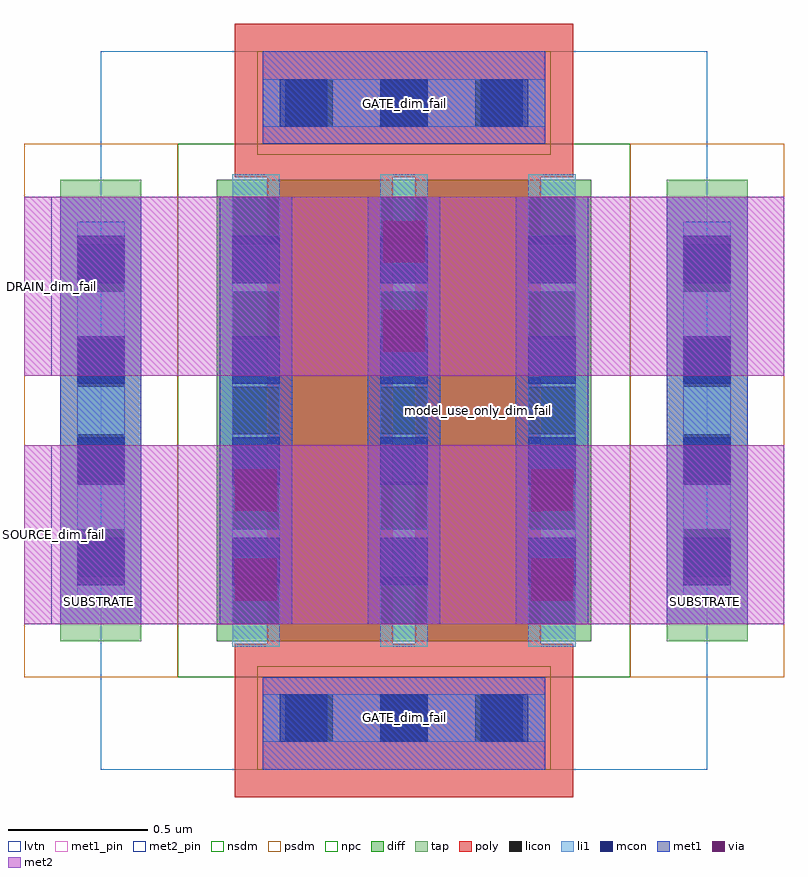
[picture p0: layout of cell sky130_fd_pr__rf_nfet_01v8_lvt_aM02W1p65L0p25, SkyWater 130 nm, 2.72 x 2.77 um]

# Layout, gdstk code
import gdstk
lib = gdstk.Library(unit=1e-6, precision=1e-09)
def R(c, l, rs):  # rectangles x0, y0, x1, y1
    for r in rs: c.add(gdstk.rectangle(r[:2], r[2:], *l))
def A(c, l, x, y, w, h, nx, ny, dx, dy):  # array of equal rectangles
    R(c, l, [(x+i*dx, y+j*dy, x+i*dx+w, y+j*dy+h) for i in range(nx) for j in range(ny)])
def P(c, l, *ps):  # polygons
    for p in ps: c.add(gdstk.Polygon(p, *l))
diff = (65, 20)
tap = (65, 44)
poly = (66, 20)
licon = (66, 44)
li1 = (67, 20)
mcon = (67, 44)
met1_pin = (68, 16)
met1 = (68, 20)
via = (68, 44)
met2_pin = (69, 16)
met2 = (69, 20)
nsdm = (93, 44)
psdm = (94, 20)
npc = (95, 20)
lvtn = (125, 44)

sky130_fd_pr__rf_nfet_01 = lib.new_cell('sky130_fd_pr__rf_nfet_01v8_lvt_aM02W1p65L0p25')
R(sky130_fd_pr__rf_nfet_01, diff, [(0.74,0.51,2.08,2.16)])
R(sky130_fd_pr__rf_nfet_01, tap, [(0.18,0.51,0.47,2.16), (2.35,0.51,2.64,2.16)])
P(sky130_fd_pr__rf_nfet_01, poly, [(0.805,-0.05),(0.805,0.5),(0.92,0.5),(0.92,2.17),(1.37,2.17),(1.37,0.5),(1.45,0.5),(1.45,2.17),(0.805,2.17),(0.805,2.72),(2.015,2.72),(2.015,2.17),(1.9,2.17),(1.9,0.5),(2.015,0.5),(2.015,-0.05)])
A(sky130_fd_pr__rf_nfet_01, licon, 0.985, 0.15, 0.17, 0.17, 3, 2, 0.34, 2.2)
A(sky130_fd_pr__rf_nfet_01, licon, 0.795, 0.57, 0.17, 0.17, 3, 5, 0.53, 0.34)
A(sky130_fd_pr__rf_nfet_01, licon, 0.24, 0.74, 0.17, 0.17, 1, 4, 0, 0.34)
A(sky130_fd_pr__rf_nfet_01, licon, 2.41, 0.74, 0.17, 0.17, 1, 4, 0, 0.34)
A(sky130_fd_pr__rf_nfet_01, li1, 0.795, 0.49, 0.17, 1.69, 3, 1, 0.53, 0)
R(sky130_fd_pr__rf_nfet_01, li1, [(0.905,0.15,1.915,0.32), (0.965,0.15,1.855,0.32), (0.24,0.66,0.41,2.01), (2.41,0.66,2.58,2.01), (0.905,2.35,1.915,2.52), (0.965,2.35,1.855,2.52)])
A(sky130_fd_pr__rf_nfet_01, mcon, 0.965, 0.15, 0.17, 0.17, 3, 2, 0.36, 2.2)
A(sky130_fd_pr__rf_nfet_01, mcon, 0.24, 0.71, 0.17, 0.17, 1, 4, 0, 0.36)
A(sky130_fd_pr__rf_nfet_01, mcon, 0.795, 0.71, 0.17, 0.17, 3, 4, 0.53, 0.36)
A(sky130_fd_pr__rf_nfet_01, mcon, 2.41, 0.71, 0.17, 0.17, 1, 4, 0, 0.36)
R(sky130_fd_pr__rf_nfet_01, met1_pin, [(0.905,0.05,1.915,0.38), (0.18,0.57,0.47,0.65), (2.35,0.57,2.64,0.65), (0.905,2.29,1.915,2.62)])
A(sky130_fd_pr__rf_nfet_01, met1, 0.75, 0.57, 0.26, 1.53, 3, 1, 0.53, 0)
R(sky130_fd_pr__rf_nfet_01, met1, [(0.905,0.05,1.915,0.38), (0.18,0.57,0.47,2.1), (2.35,0.57,2.64,2.1), (0.905,2.29,1.915,2.62)])
R(sky130_fd_pr__rf_nfet_01, via, [(0.805,0.655,0.955,0.805), (1.865,0.655,2.015,0.805), (0.805,0.975,0.955,1.125), (1.865,0.975,2.015,1.125), (1.335,1.545,1.485,1.695), (1.335,1.865,1.485,2.015)])
R(sky130_fd_pr__rf_nfet_01, met2_pin, [(0.05,0.57,0.15,1.21), (0.05,1.46,0.15,2.1)])
R(sky130_fd_pr__rf_nfet_01, met2, [(0.05,0.57,2.77,1.21), (0.05,1.46,2.77,2.1)])
R(sky130_fd_pr__rf_nfet_01, nsdm, [(0.6,0.38,2.22,2.29)])
R(sky130_fd_pr__rf_nfet_01, psdm, [(0.05,0.38,0.6,2.29), (2.22,0.38,2.77,2.29)])
R(sky130_fd_pr__rf_nfet_01, npc, [(0.885,0.05,1.935,0.42), (0.885,2.25,1.935,2.62)])
R(sky130_fd_pr__rf_nfet_01, lvtn, [(0.325,0.05,2.495,2.62)])
sky130_fd_pr__rf_nfet_01.add(gdstk.Label('model_use_only_dim_fail', (1.675,1.335), layer=66, texttype=83))
sky130_fd_pr__rf_nfet_01.add(gdstk.Label('model_use_only_dim_fail', (1.145,1.335), layer=66, texttype=83))
sky130_fd_pr__rf_nfet_01.add(gdstk.Label('SOURCE_dim_fail', (0.15,0.89), layer=69, texttype=5))
sky130_fd_pr__rf_nfet_01.add(gdstk.Label('DRAIN_dim_fail', (0.15,1.78), layer=69, texttype=5))
sky130_fd_pr__rf_nfet_01.add(gdstk.Label('GATE_dim_fail', (1.41,0.235), layer=68, texttype=5))
sky130_fd_pr__rf_nfet_01.add(gdstk.Label('GATE_dim_fail', (1.41,2.435), layer=68, texttype=5))
sky130_fd_pr__rf_nfet_01.add(gdstk.Label('SUBSTRATE', (0.32,0.65), layer=68, texttype=5))
sky130_fd_pr__rf_nfet_01.add(gdstk.Label('SUBSTRATE', (2.49,0.65), layer=68, texttype=5))

lib.write_gds('sky130_fd_pr__rf_nfet_01v8_lvt_aM02W1p65L0p25.gds')
